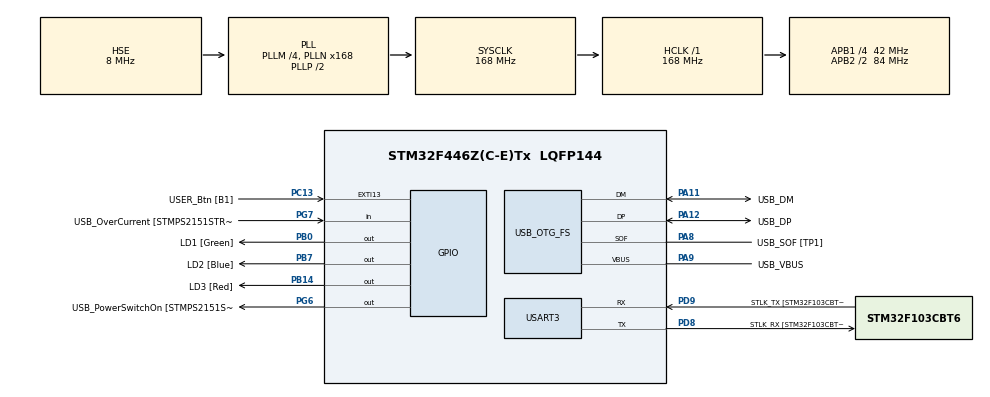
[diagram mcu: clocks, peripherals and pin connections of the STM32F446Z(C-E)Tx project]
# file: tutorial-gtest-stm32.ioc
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Mcu.Family=STM32F4
Mcu.Name=STM32F446Z(C-E)Tx
Mcu.Package=LQFP144
NVIC.PriorityGroup=NVIC_PRIORITYGROUP_4
PA10.GPIO_Label=USB_ID
PA10.Signal=USB_OTG_FS_ID
PA11.GPIO_Label=USB_DM
PA11.Mode=Device_Only
PA11.Signal=USB_OTG_FS_DM
PA12.GPIO_Label=USB_DP
PA12.Mode=Device_Only
PA12.Signal=USB_OTG_FS_DP
PA13.GPIO_Label=TMS
PA13.Mode=Serial_Wire
PA13.Signal=SYS_JTMS-SWDIO
PA14.GPIO_Label=TCK
PA14.Mode=Serial_Wire
PA14.Signal=SYS_JTCK-SWCLK
PA8.GPIO_Label=USB_SOF [TP1]
PA8.Mode=Activate_SOF_FS
PA8.Signal=USB_OTG_FS_SOF
PA9.GPIO_Label=USB_VBUS
PA9.Mode=Activate_VBUS
PA9.Signal=USB_OTG_FS_VBUS
PB0.GPIO_Label=LD1 [Green]
PB0.Signal=GPIO_Output
PB14.GPIO_Label=LD3 [Red]
PB14.Signal=GPIO_Output
PB7.GPIO_Label=LD2 [Blue]
PB7.Signal=GPIO_Output
PC13.GPIO_Label=USER_Btn [B1]
PC13.Signal=GPXTI13
PC14-OSC32_IN.Mode=LSE-External-Oscillator
PC14-OSC32_IN.Signal=RCC_OSC32_IN
PC15-OSC32_OUT.Mode=LSE-External-Oscillator
PC15-OSC32_OUT.Signal=RCC_OSC32_OUT
PD8.GPIO_Label=STLK_RX [STM32F103CBT6_PA3]
PD8.Mode=Asynchronous
PD8.Signal=USART3_TX
PD9.GPIO_Label=STLK_TX [STM32F103CBT6_PA2]
PD9.Mode=Asynchronous
PD9.Signal=USART3_RX
PG6.GPIO_Label=USB_PowerSwitchOn [STMPS2151STR_EN]
PG6.Signal=GPIO_Output
PG7.GPIO_Label=USB_OverCurrent [STMPS2151STR_FAULT]
PG7.Signal=GPIO_Input
PH0-OSC_IN.GPIO_Label=MCO [STM32F103CBT6_PA8]
PH0-OSC_IN.Mode=HSE-External-Clock-Source
PH0-OSC_IN.Signal=RCC_OSC_IN
PH1-OSC_OUT.Mode=HSE-External-Clock-Source
PH1-OSC_OUT.Signal=RCC_OSC_OUT
ProjectManager.HeapSize=0x200
ProjectManager.StackSize=0x400
ProjectManager.TargetToolchain=STM32CubeIDE
RCC.48MHZClocksFreq_Value=24000000
RCC.AHBFreq_Value=168000000
RCC.APB1CLKDivider=RCC_HCLK_DIV4
RCC.APB1Freq_Value=42000000
RCC.APB1TimFreq_Value=84000000
RCC.APB2CLKDivider=RCC_HCLK_DIV2
RCC.APB2Freq_Value=84000000
RCC.APB2TimFreq_Value=168000000
RCC.CortexFreq_Value=168000000
RCC.HCLKFreq_Value=168000000
RCC.HSE_VALUE=8000000
RCC.HSI_VALUE=16000000
RCC.PLLM=4
RCC.PLLMUL=RCC_PLL_MUL9
RCC.PLLN=168
RCC.PLLQ=7
RCC.PRESCALERUSB=RCC_USBCLKSOURCE_PLL_DIV1_5
RCC.SYSCLKFreq_VALUE=168000000
RCC.SYSCLKSource=RCC_SYSCLKSOURCE_PLLCLK
RCC.SYSCLKSourceVirtual=RCC_SYSCLKSOURCE_PLLCLK
RCC.USBFreq_Value=48000000
RCC.VCOOutputFreq_Value=336000000
USART3.VirtualMode=VM_ASYNC
USB_OTG_FS.VirtualMode=Device_Only
board=NUCLEO-F446ZE

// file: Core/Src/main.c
/* USER CODE BEGIN Header */
/**
  ******************************************************************************
  * @file           : main.c
  * @brief          : Main program body
  ******************************************************************************
  * @attention
  *
  * Copyright (c) 2022 STMicroelectronics.
  * All rights reserved.
  *
  * This software is licensed under terms that can be found in the LICENSE file
  * in the root directory of this software component.
  * If no LICENSE file comes with this software, it is provided AS-IS.
  *
  ******************************************************************************
  */
/* USER CODE END Header */
#include "main.h"

/* USER CODE BEGIN Includes */
#include "bsp.h"
#include "Drivers/Include/gpio.h"
#include "Middleware/Include/led.h"

/* USER CODE END Includes */

UART_HandleTypeDef huart3;

PCD_HandleTypeDef hpcd_USB_OTG_FS;

void SystemClock_Config(void);
static void MX_GPIO_Init(void);
static void MX_USART3_UART_Init(void);
static void MX_USB_OTG_FS_PCD_Init(void);

int main(void)
{

  /* MCU Configuration--------------------------------------------------------*/

  /* Reset of all peripherals, Initializes the Flash interface and the Systick. */
  HAL_Init();

  /* Configure the system clock */
  SystemClock_Config();

  /* Initialize all configured peripherals */
  MX_GPIO_Init();
  MX_USART3_UART_Init();
  MX_USB_OTG_FS_PCD_Init();
  /* USER CODE BEGIN 2 */

  // Sample code to use Library Gpio
  BSP_Initialize();

  Gpio_t GpioLedBlue = {0};
  GPIO_Initialize(&GpioLedBlue, (GpioPort_t *)LD2_GPIO_Port, LD2_Pin);

  Gpio_t GpioLedGreen = {0};
  GPIO_Initialize(&GpioLedGreen, (GpioPort_t *)LD1_GPIO_Port, LD1_Pin);

  Gpio_t GpioLedRed = {0};
  GPIO_Initialize(&GpioLedRed, (GpioPort_t *)LD3_GPIO_Port, LD3_Pin);

  Led_t LedGreen = {0};
  LED_Initialize(&LedGreen, &GpioLedGreen, LED_ACTIVE_HIGH);

  Led_t LedRed = {0};
  LED_Initialize(&LedRed, &GpioLedRed, LED_ACTIVE_HIGH);

  /* USER CODE END 2 */

  /* Infinite loop */
  /* USER CODE BEGIN WHILE */
  GPIO_WritePin(&GpioLedBlue, GPIO_STATE_RESET);
  LED_Write(&LedRed, LED_STATE_OFF);
  LED_Write(&LedGreen, LED_STATE_OFF);

  while (1)
  {
    /* USER CODE END WHILE */

    /* USER CODE BEGIN 3 */
   GPIO_TogglePin(&GpioLedBlue);

   LED_Toggle(&LedRed);
   LED_Write(&LedGreen, LED_STATE_OFF);
   HAL_Delay(500);

   LED_Toggle(&LedRed);
   LED_Write(&LedGreen, LED_STATE_ON);
   HAL_Delay(500);
  }
  /* USER CODE END 3 */
}

void SystemClock_Config(void)
{
  RCC_OscInitTypeDef RCC_OscInitStruct = {0};
  RCC_ClkInitTypeDef RCC_ClkInitStruct = {0};

  /** Configure the main internal regulator output voltage
  */
  __HAL_RCC_PWR_CLK_ENABLE();
  __HAL_PWR_VOLTAGESCALING_CONFIG(PWR_REGULATOR_VOLTAGE_SCALE1);

  /** Initializes the RCC Oscillators according to the specified parameters
  * in the RCC_OscInitTypeDef structure.
  */
  RCC_OscInitStruct.OscillatorType = RCC_OSCILLATORTYPE_HSE;
  RCC_OscInitStruct.HSEState = RCC_HSE_BYPASS;
  RCC_OscInitStruct.PLL.PLLState = RCC_PLL_ON;
  RCC_OscInitStruct.PLL.PLLSource = RCC_PLLSOURCE_HSE;
  RCC_OscInitStruct.PLL.PLLM = 4;
  RCC_OscInitStruct.PLL.PLLN = 168;
  RCC_OscInitStruct.PLL.PLLP = RCC_PLLP_DIV2;
  RCC_OscInitStruct.PLL.PLLQ = 7;
  RCC_OscInitStruct.PLL.PLLR = 2;
  if (HAL_RCC_OscConfig(&RCC_OscInitStruct) != HAL_OK)
  {
    Error_Handler();
  }

  /** Initializes the CPU, AHB and APB buses clocks
  */
  RCC_ClkInitStruct.ClockType = RCC_CLOCKTYPE_HCLK|RCC_CLOCKTYPE_SYSCLK
                              |RCC_CLOCKTYPE_PCLK1|RCC_CLOCKTYPE_PCLK2;
  RCC_ClkInitStruct.SYSCLKSource = RCC_SYSCLKSOURCE_PLLCLK;
  RCC_ClkInitStruct.AHBCLKDivider = RCC_SYSCLK_DIV1;
  RCC_ClkInitStruct.APB1CLKDivider = RCC_HCLK_DIV4;
  RCC_ClkInitStruct.APB2CLKDivider = RCC_HCLK_DIV2;

  if (HAL_RCC_ClockConfig(&RCC_ClkInitStruct, FLASH_LATENCY_5) != HAL_OK)
  {
    Error_Handler();
  }
}

static void MX_USART3_UART_Init(void)
{

  huart3.Instance = USART3;
  huart3.Init.BaudRate = 115200;
  huart3.Init.WordLength = UART_WORDLENGTH_8B;
  huart3.Init.StopBits = UART_STOPBITS_1;
  huart3.Init.Parity = UART_PARITY_NONE;
  huart3.Init.Mode = UART_MODE_TX_RX;
  huart3.Init.HwFlowCtl = UART_HWCONTROL_NONE;
  huart3.Init.OverSampling = UART_OVERSAMPLING_16;
  if (HAL_UART_Init(&huart3) != HAL_OK)
  {
    Error_Handler();
  }

}

static void MX_USB_OTG_FS_PCD_Init(void)
{

  hpcd_USB_OTG_FS.Instance = USB_OTG_FS;
  hpcd_USB_OTG_FS.Init.dev_endpoints = 6;
  hpcd_USB_OTG_FS.Init.speed = PCD_SPEED_FULL;
  hpcd_USB_OTG_FS.Init.dma_enable = DISABLE;
  hpcd_USB_OTG_FS.Init.phy_itface = PCD_PHY_EMBEDDED;
  hpcd_USB_OTG_FS.Init.Sof_enable = ENABLE;
  hpcd_USB_OTG_FS.Init.low_power_enable = DISABLE;
  hpcd_USB_OTG_FS.Init.lpm_enable = DISABLE;
  hpcd_USB_OTG_FS.Init.vbus_sensing_enable = ENABLE;
  hpcd_USB_OTG_FS.Init.use_dedicated_ep1 = DISABLE;
  if (HAL_PCD_Init(&hpcd_USB_OTG_FS) != HAL_OK)
  {
    Error_Handler();
  }

}

static void MX_GPIO_Init(void)
{
  GPIO_InitTypeDef GPIO_InitStruct = {0};

  /* GPIO Ports Clock Enable */
  __HAL_RCC_GPIOC_CLK_ENABLE();
  __HAL_RCC_GPIOH_CLK_ENABLE();
  __HAL_RCC_GPIOB_CLK_ENABLE();
  __HAL_RCC_GPIOD_CLK_ENABLE();
  __HAL_RCC_GPIOG_CLK_ENABLE();
  __HAL_RCC_GPIOA_CLK_ENABLE();

  /*Configure GPIO pin Output Level */
  HAL_GPIO_WritePin(GPIOB, LD1_Pin|LD3_Pin|LD2_Pin, GPIO_PIN_RESET);

  /*Configure GPIO pin Output Level */
  HAL_GPIO_WritePin(USB_PowerSwitchOn_GPIO_Port, USB_PowerSwitchOn_Pin, GPIO_PIN_RESET);

  /*Configure GPIO pin : USER_Btn_Pin */
  GPIO_InitStruct.Pin = USER_Btn_Pin;
  GPIO_InitStruct.Mode = GPIO_MODE_IT_RISING;
  GPIO_InitStruct.Pull = GPIO_NOPULL;
  HAL_GPIO_Init(USER_Btn_GPIO_Port, &GPIO_InitStruct);

  /*Configure GPIO pins : LD1_Pin LD3_Pin LD2_Pin */
  GPIO_InitStruct.Pin = LD1_Pin|LD3_Pin|LD2_Pin;
  GPIO_InitStruct.Mode = GPIO_MODE_OUTPUT_PP;
  GPIO_InitStruct.Pull = GPIO_NOPULL;
  GPIO_InitStruct.Speed = GPIO_SPEED_FREQ_LOW;
  HAL_GPIO_Init(GPIOB, &GPIO_InitStruct);

  /*Configure GPIO pin : USB_PowerSwitchOn_Pin */
  GPIO_InitStruct.Pin = USB_PowerSwitchOn_Pin;
  GPIO_InitStruct.Mode = GPIO_MODE_OUTPUT_PP;
  GPIO_InitStruct.Pull = GPIO_NOPULL;
  GPIO_InitStruct.Speed = GPIO_SPEED_FREQ_LOW;
  HAL_GPIO_Init(USB_PowerSwitchOn_GPIO_Port, &GPIO_InitStruct);

  /*Configure GPIO pin : USB_OverCurrent_Pin */
  GPIO_InitStruct.Pin = USB_OverCurrent_Pin;
  GPIO_InitStruct.Mode = GPIO_MODE_INPUT;
  GPIO_InitStruct.Pull = GPIO_NOPULL;
  HAL_GPIO_Init(USB_OverCurrent_GPIO_Port, &GPIO_InitStruct);

}

void Error_Handler(void)
{
  __disable_irq();
  while (1)
  {
  }
}

#ifdef  USE_FULL_ASSERT
/**
  * @brief  Reports the name of the source file and the source line number
  *         where the assert_param error has occurred.
  * @param  file: pointer to the source file name
  * @param  line: assert_param error line source number
  * @retval None
  */
void assert_failed(uint8_t *file, uint32_t line)
{
  /* USER CODE BEGIN 6 */
  /* User can add his own implementation to report the file name and line number,
     ex: printf("Wrong parameters value: file %s on line %d\r\n", file, line) */
   printf("assert_failed: file %s on line %lu\r\n", file, line);

   Error_Handler();
  /* USER CODE END 6 */
}
#endif /* USE_FULL_ASSERT */
